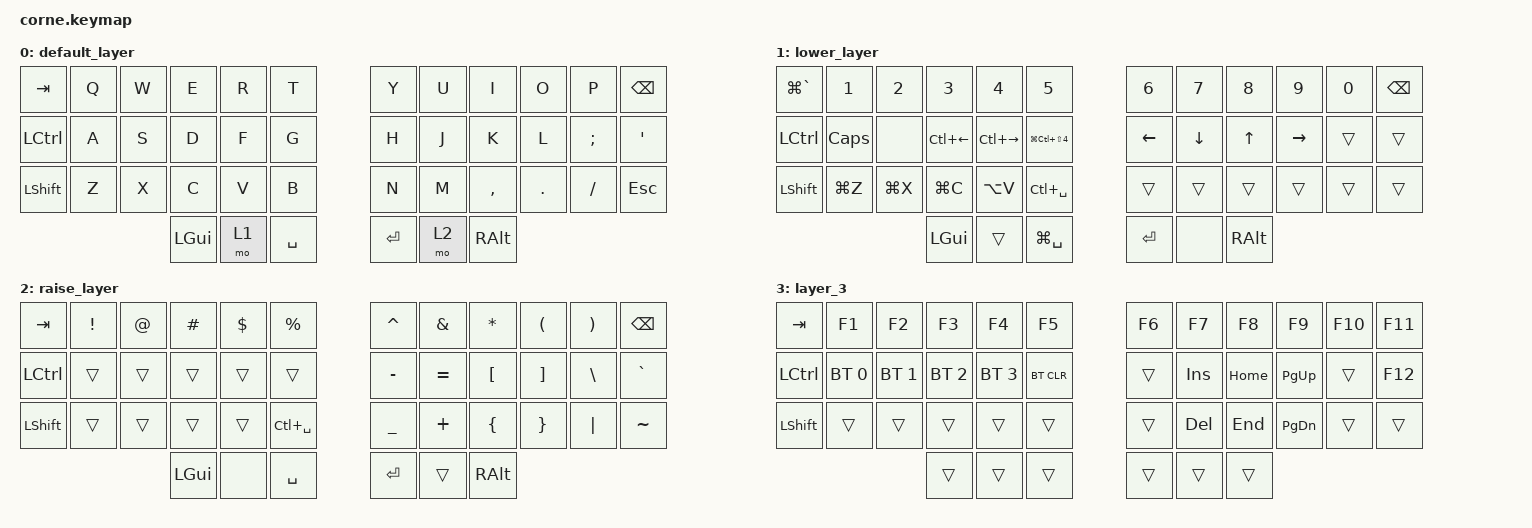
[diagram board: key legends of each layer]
/*
 * Copyright (c) 2020 The ZMK Contributors
 *
 * SPDX-License-Identifier: MIT
 */

#include <behaviors.dtsi>
#include <dt-bindings/zmk/bt.h>
#include <dt-bindings/zmk/keys.h>
#include <dt-bindings/zmk/keys.h>

/ {
    combos {
        compatible = "zmk,combos";

        combo_esc {
            timeout-ms = <50>;
            key-positions = <0 1>;
            bindings = <&kp ESC>;
        };

        combo_Layer_3 {
            bindings = <&mo 3>;
            key-positions = <37 40>;
        };
    };

    behaviors {
        ss_hs_modmorph: ss_hs_modmorph {
            compatible = "zmk,behavior-mod-morph";
            label = "SS_HS_MODMORPH";
            bindings = <&kp M>, <&kp RIGHT_BRACKET>;

            #binding-cells = <0>;
            mods = <(MOD_LSFT|MOD_RSFT)>;
        };

        kh_hs_tapdance: kh_hs_tapdance {
            compatible = "zmk,behavior-tap-dance";
            label = "KH_HS_TAPDANCE";
            #binding-cells = <0>;
            tapping-term-ms = <200>;
            bindings = <&kp LEFT_BRACKET>, <&kp RIGHT_BRACKET>;
        };

        hrm: hrm {
            compatible = "zmk,behavior-hold-tap";
            #binding-cells = <2>;
            flavor = "tap-preferred";
            tapping-term-ms = <200>;
            quick-tap-ms = <200>;
            require-prior-idle-ms = <125>;
            bindings = <&kp>, <&kp>;
        };
    };

    macros {
        Change_language: Change_language {
            compatible = "zmk,behavior-macro";
            #binding-cells = <0>;
            bindings = <&kt LCTRL &kp SPACE &kt LCTRL>;
            label = "CHANGE_LANGUAGE";
        };

        Screen_to_buffer: Screen_to_buffer {
            compatible = "zmk,behavior-macro";
            #binding-cells = <0>;
            bindings = <&kt LEFT_COMMAND &kt LCTRL &kt LEFT_SHIFT &kp NUMBER_4 &kt LEFT_SHIFT &kt LCTRL &kt LEFT_COMMAND>;
            label = "SCREEN_TO_BUFFER";
        };
    };

    keymap {
        compatible = "zmk,keymap";

        default_layer {
            // -----------------------------------------------------------------------------------------
            // |  TAB |  Q  |  W  |  E  |  R  |  T  |   |  Y  |  U   |  I  |  O  |  P  | BKSP |
            // | CTRL |  A  |  S  |  D  |  F  |  G  |   |  H  |  J   |  K  |  L  |  ;  |  '   |
            // | SHFT |  Z  |  X  |  C  |  V  |  B  |   |  N  |  M   |  ,  |  .  |  /  | ESC  |
            //                    | GUI | LWR | SPC |   | ENT | RSE  | ALT |

            bindings = <
&kp TAB    &kp Q  &kp W  &kp E     &kp R  &kp T        &kp Y    &kp U  &kp I      &kp O    &kp P     &kp BSPC
&kp LCTRL  &kp A  &kp S  &kp D     &kp F  &kp G        &kp H    &kp J  &kp K      &kp L    &kp SEMI  &kp SQT
&kp LSHFT  &kp Z  &kp X  &kp C     &kp V  &kp B        &kp N    &kp M  &kp COMMA  &kp DOT  &kp FSLH  &kp ESC
                         &kp LGUI  &mo 1  &kp SPACE    &kp RET  &mo 2  &kp RALT
            >;
        };

        lower_layer {
            // -----------------------------------------------------------------------------------------
            // |  TAB |  1  |  2  |  3  |  4  |  5  |   |  6  |  7  |  8  |  9  |  0  | BKSP |
            // | BTCLR| BT1 | BT2 | BT3 | BT4 | BT5 |   | LFT | DWN |  UP | RGT |     |      |
            // | SHFT |     |     |     |     |     |   |     |     |     |     |     |      |
            //                    | GUI |     | SPC |   | ENT |     | ALT |

            bindings = <
&kp LG(GRAVE)  &kp N1        &kp N2     &kp N3        &kp N4         &kp N5                      &kp N6    &kp N7    &kp N8    &kp N9     &kp N0  &kp BSPC
&kp LCTRL      &kp CAPSLOCK  &none      &kp LC(LEFT)  &kp LC(RIGHT)  &kp LG(LC(LS(NUMBER_4)))    &kp LEFT  &kp DOWN  &kp UP    &kp RIGHT  &trans  &trans
&kp LSHFT      &kp LG(Z)     &kp LG(X)  &kp LG(C)     &kp LA(V)      &kp LC(SPACE)               &trans    &trans    &trans    &trans     &trans  &trans
                                        &kp LGUI      &trans         &kp LG(SPACE)               &kp RET   &none     &kp RALT
            >;
        };

        raise_layer {
            // -----------------------------------------------------------------------------------------
            // |  TAB |  !  |  @  |  #  |  $  |  %  |   |  ^  |  &  |  *  |  (  |  )  | BKSP |
            // | CTRL |     |     |     |     |     |   |  -  |  =  |  [  |  ]  |  \  |  `   |
            // | SHFT |     |     |     |     |     |   |  _  |  +  |  {  |  }  | "|" |  ~   |
            //                    | GUI |     | SPC |   | ENT |     | ALT |

            bindings = <
&kp TAB    &kp EXCL  &kp AT  &kp HASH  &kp DLLR  &kp PRCNT        &kp CARET  &kp AMPS   &kp ASTRK  &kp LPAR  &kp RPAR  &kp BSPC
&kp LCTRL  &trans    &trans  &trans    &trans    &trans           &kp MINUS  &kp EQUAL  &kp LBKT   &kp RBKT  &kp BSLH  &kp GRAVE
&kp LSHFT  &trans    &trans  &trans    &trans    &kp LC(SPACE)    &kp UNDER  &kp PLUS   &kp LBRC   &kp RBRC  &kp PIPE  &kp TILDE
                             &kp LGUI  &none     &kp SPACE        &kp RET    &trans     &kp RALT
            >;
        };

        layer_3 {
            bindings = <
&kp TAB         &kp F1        &kp F2        &kp F3        &kp F4        &kp F5        &kp F6  &kp F7      &kp F8    &kp F9     &kp F10  &kp F11
&kp LCTRL       &bt BT_SEL 0  &bt BT_SEL 1  &bt BT_SEL 2  &bt BT_SEL 3  &bt BT_CLR    &trans  &kp INSERT  &kp HOME  &kp PG_UP  &trans   &kp F12
&kp LEFT_SHIFT  &trans        &trans        &trans        &trans        &trans        &trans  &kp DELETE  &kp END   &kp PG_DN  &trans   &trans
                                            &trans        &trans        &trans        &trans  &trans      &trans
            >;
        };
    };
};
